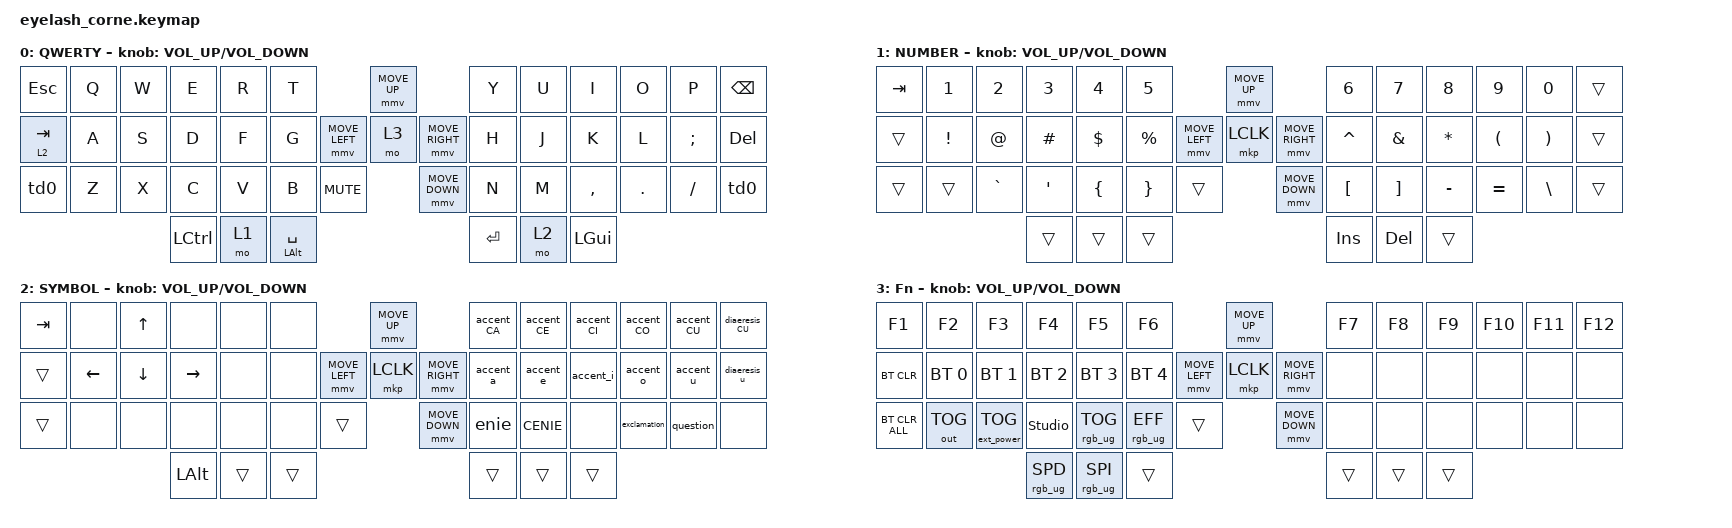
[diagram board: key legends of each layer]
#define ZMK_POINTING_DEFAULT_MOVE_VAL 1200  // 600
#define ZMK_POINTING_DEFAULT_SCRL_VAL 25   // 10

#include <input/processors.dtsi>
#include <zephyr/dt-bindings/input/input-event-codes.h>
#include <behaviors.dtsi>
#include <dt-bindings/zmk/bt.h>
#include <dt-bindings/zmk/ext_power.h>
#include <dt-bindings/zmk/keys.h>
#include <dt-bindings/zmk/outputs.h>
#include <dt-bindings/zmk/pointing.h>
#include <dt-bindings/zmk/rgb.h>

&mmv_input_listener { input-processors = <&zip_xy_scaler 2 1>; };

&msc_input_listener { input-processors = <&zip_scroll_scaler 2 1>; };

&msc {
    acceleration-exponent = <1>;      // 0
    time-to-max-speed-ms = <100>;       // 300
    delay-ms = <0>;                   // 0
};

&mmv {
    time-to-max-speed-ms = <500>;
    acceleration-exponent = <1>;
    trigger-period-ms = <16>;
};

&lt {
    tapping-term-ms = <150>;
};

&mt {
    tapping-term-ms = <1000>;
};

/ {
    macros {
        accent_a: accent_a {
            compatible = "zmk,behavior-macro";
            #binding-cells = <0>;
            wait-ms = <40>;
            tap-ms = <40>;
            bindings
                = <&macro_press   &kp LALT>
                , <&macro_tap     &kp KP_N0 &kp KP_N2 &kp KP_N2 &kp KP_N5>
                , <&macro_release &kp LALT>
                ;
        };
        accent_CA: accent_CA {
            compatible = "zmk,behavior-macro";
            #binding-cells = <0>;
            wait-ms = <40>;
            tap-ms = <40>;
            bindings
                = <&macro_press   &kp LALT>
                , <&macro_tap     &kp KP_N0 &kp KP_N1 &kp KP_N9 &kp KP_N3>
                , <&macro_release &kp LALT>
                ;
        };
        accent_e: accent_e {
            compatible = "zmk,behavior-macro";
            #binding-cells = <0>;
            wait-ms = <40>;
            tap-ms = <40>;
            bindings
                = <&macro_press   &kp LALT>
                , <&macro_tap     &kp KP_N0 &kp KP_N2 &kp KP_N3 &kp KP_N3>
                , <&macro_release &kp LALT>
                ;
        };
        accent_CE: accent_CE {
            compatible = "zmk,behavior-macro";
            #binding-cells = <0>;
            wait-ms = <40>;
            tap-ms = <40>;
            bindings
                = <&macro_press   &kp LALT>
                , <&macro_tap     &kp KP_N0 &kp KP_N2 &kp KP_N0 &kp KP_N1>
                , <&macro_release &kp LALT>
                ;
        };
        accent_i: accent_i {
            compatible = "zmk,behavior-macro";
            #binding-cells = <0>;
            wait-ms = <40>;
            tap-ms = <40>;
            bindings
                = <&macro_press   &kp LALT>
                , <&macro_tap     &kp KP_N0 &kp KP_N2 &kp KP_N3 &kp KP_N7>
                , <&macro_release &kp LALT>
                ;
        };
        accent_CI: accent_CI {
            compatible = "zmk,behavior-macro";
            #binding-cells = <0>;
            wait-ms = <40>;
            tap-ms = <40>;
            bindings
                = <&macro_press   &kp LALT>
                , <&macro_tap     &kp KP_N0 &kp KP_N2 &kp KP_N0 &kp KP_N5>
                , <&macro_release &kp LALT>
                ;
        };
        accent_o: accent_o {
            compatible = "zmk,behavior-macro";
            #binding-cells = <0>;
            wait-ms = <40>;
            tap-ms = <40>;
            bindings
                = <&macro_press   &kp LALT>
                , <&macro_tap     &kp KP_N0 &kp KP_N2 &kp KP_N4 &kp KP_N3>
                , <&macro_release &kp LALT>
                ;
        };
        accent_CO: accent_CO {
            compatible = "zmk,behavior-macro";
            #binding-cells = <0>;
            wait-ms = <40>;
            tap-ms = <40>;
            bindings
                = <&macro_press   &kp LALT>
                , <&macro_tap     &kp KP_N0 &kp KP_N2 &kp KP_N1 &kp KP_N1>
                , <&macro_release &kp LALT>
                ;
        };
        accent_u: accent_u {
            compatible = "zmk,behavior-macro";
            #binding-cells = <0>;
            wait-ms = <40>;
            tap-ms = <40>;
            bindings
                = <&macro_press   &kp LALT>
                , <&macro_tap     &kp KP_N0 &kp KP_N2 &kp KP_N5 &kp KP_N0>
                , <&macro_release &kp LALT>
                ;
        };
        accent_CU: accent_CU {
            compatible = "zmk,behavior-macro";
            #binding-cells = <0>;
            wait-ms = <40>;
            tap-ms = <40>;
            bindings
                = <&macro_press   &kp LALT>
                , <&macro_tap     &kp KP_N0 &kp KP_N2 &kp KP_N1 &kp KP_N8>
                , <&macro_release &kp LALT>
                ;
        };
        diaeresis_u: diaeresis_u {
            compatible = "zmk,behavior-macro";
            #binding-cells = <0>;
            wait-ms = <40>;
            tap-ms = <40>;
            bindings
                = <&macro_press   &kp LALT>
                , <&macro_tap     &kp KP_N0 &kp KP_N2 &kp KP_N5 &kp KP_N2>
                , <&macro_release &kp LALT>
                ;
        };
        diaeresis_CU: diaeresis_CU {
            compatible = "zmk,behavior-macro";
            #binding-cells = <0>;
            wait-ms = <40>;
            tap-ms = <40>;
            bindings
                = <&macro_press   &kp LALT>
                , <&macro_tap     &kp KP_N0 &kp KP_N2 &kp KP_N2 &kp KP_N0>
                , <&macro_release &kp LALT>
                ;
        };
        enie: enie {
            compatible = "zmk,behavior-macro";
            #binding-cells = <0>;
            wait-ms = <40>;
            tap-ms = <40>;
            bindings
                = <&macro_press   &kp LALT>
                , <&macro_tap     &kp KP_N0 &kp KP_N2 &kp KP_N4 &kp KP_N1>
                , <&macro_release &kp LALT>
                ;
        };
        CENIE: CENIE {
            compatible = "zmk,behavior-macro";
            #binding-cells = <0>;
            wait-ms = <40>;
            tap-ms = <40>;
            bindings
                = <&macro_press   &kp LALT>
                , <&macro_tap     &kp KP_N0 &kp KP_N2 &kp KP_N0 &kp KP_N9>
                , <&macro_release &kp LALT>
                ;
        };
        question: question {
            compatible = "zmk,behavior-macro";
            #binding-cells = <0>;
            wait-ms = <40>;
            tap-ms = <40>;
            bindings
                = <&macro_press   &kp LALT>
                , <&macro_tap     &kp KP_N0 &kp KP_N1 &kp KP_N9 &kp KP_N1>
                , <&macro_release &kp LALT>
                ;
        };
        exclamation: exclamation {
            compatible = "zmk,behavior-macro";
            #binding-cells = <0>;
            wait-ms = <40>;
            tap-ms = <40>;
            bindings
                = <&macro_press   &kp LALT>
                , <&macro_tap     &kp KP_N0 &kp KP_N1 &kp KP_N6 &kp KP_N1>
                , <&macro_release &kp LALT>
                ;
        };
    };
};


/ {
    behaviors {
        td0: td0 {
            compatible = "zmk,behavior-tap-dance";
            display-name = "Shift/Caps Lock Tap Dance";
            #binding-cells = <0>;
            bindings = <&kp LEFT_SHIFT>, <&kp CAPS>;
        };
    };

    rgb_encoder: rgb_encoder {
        compatible = "zmk,behavior-sensor-rotate";
        #sensor-binding-cells = <0>;
        bindings = <&rgb_ug RGB_BRI>, <&rgb_ug RGB_BRD>;
    };

    scroll_encoder: scroll_encoder {
        compatible = "zmk,behavior-sensor-rotate";
        #sensor-binding-cells = <0>;
        bindings = <&msc SCRL_DOWN>, <&msc SCRL_UP>;
        tap-ms = <100>;
    };

    keymap {
        compatible = "zmk,keymap";

        default_layer {
            display-name = "QWERTY";
            bindings = <
&kp ESC     &kp Q  &kp W  &kp E      &kp R  &kp T                                        &mmv MOVE_UP                     &kp Y      &kp U  &kp I      &kp O    &kp P     &kp BSPC
&lt 2 TAB   &kp A  &kp S  &kp D      &kp F  &kp G                        &mmv MOVE_LEFT  &mo 3           &mmv MOVE_RIGHT  &kp H      &kp J  &kp K      &kp L    &kp SEMI  &kp DEL
&td0        &kp Z  &kp X  &kp C      &kp V  &kp B           &kp C_MUTE                   &mmv MOVE_DOWN                   &kp N      &kp M  &kp COMMA  &kp DOT  &kp FSLH  &td0
                          &kp LCTRL  &mo 1  &mt LALT SPACE                                                                &kp ENTER  &mo 2  &kp LGUI
            >;
            sensor-bindings = <&inc_dec_kp C_VOLUME_UP C_VOLUME_DOWN>;
        };

        lower_layer {
            display-name = "NUMBER";
            bindings = <
&kp TAB  &kp N1    &kp N2     &kp N3    &kp N4    &kp N5                               &mmv MOVE_UP                     &kp N6     &kp N7    &kp N8     &kp N9     &kp N0    &trans
&trans   &kp EXCL  &kp AT     &kp HASH  &kp DLLR  &kp PRCNT            &mmv MOVE_LEFT  &mkp LCLK       &mmv MOVE_RIGHT  &kp CARET  &kp AMPS  &kp ASTRK  &kp LPAR   &kp RPAR  &trans
&trans   &trans    &kp GRAVE  &kp SQT   &kp LBRC  &kp RBRC   &trans                    &mmv MOVE_DOWN                   &kp LBKT   &kp RBKT  &kp MINUS  &kp EQUAL  &kp BSLH  &trans
                              &trans    &trans    &trans                                                                &kp INS    &kp DEL   &trans
            >;
            sensor-bindings = <&inc_dec_kp C_VOLUME_UP C_VOLUME_DOWN>;
        };

        raise_layer {
            display-name = "SYMBOL";
            bindings = <
&kp TAB  &none           &kp UP_ARROW    &none            &none   &none                            &mmv MOVE_UP                     &accent_CA  &accent_CE  &accent_CI  &accent_CO    &accent_CU  &diaeresis_CU
&trans   &kp LEFT_ARROW  &kp DOWN_ARROW  &kp RIGHT_ARROW  &none   &none            &mmv MOVE_LEFT  &mkp LCLK       &mmv MOVE_RIGHT  &accent_a   &accent_e   &accent_i   &accent_o     &accent_u   &diaeresis_u
&trans   &none           &none           &none            &none   &none  &trans                    &mmv MOVE_DOWN                   &enie       &CENIE      &none       &exclamation  &question   &none
                                         &kp LALT         &trans  &trans                                                            &trans      &trans      &trans
            >;
            sensor-bindings = <&inc_dec_kp C_VOLUME_UP C_VOLUME_DOWN>;
        };

        layer_3 {
            display-name = "Fn";
            bindings = <
&kp F1          &kp F2        &kp F3             &kp F4           &kp F5           &kp F6                                      &mmv MOVE_UP                     &kp F7  &kp F8  &kp F9  &kp F10  &kp F11  &kp F12
&bt BT_CLR      &bt BT_SEL 0  &bt BT_SEL 1       &bt BT_SEL 2     &bt BT_SEL 3     &bt BT_SEL 4                &mmv MOVE_LEFT  &mkp LCLK       &mmv MOVE_RIGHT  &none   &none   &none   &none    &none    &none
&bt BT_CLR_ALL  &out OUT_TOG  &ext_power EP_TOG  &studio_unlock   &rgb_ug RGB_TOG  &rgb_ug RGB_EFF  &trans                     &mmv MOVE_DOWN                   &none   &none   &none   &none    &none    &none
                                                 &rgb_ug RGB_SPD  &rgb_ug RGB_SPI  &trans                                                                       &trans       &trans     &trans
            >;
            sensor-bindings = <&inc_dec_kp C_VOLUME_UP C_VOLUME_DOWN>;
        };
    };
};
